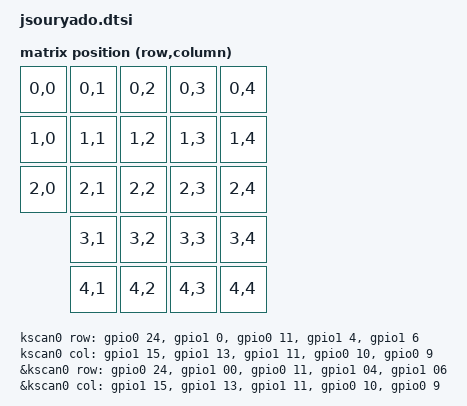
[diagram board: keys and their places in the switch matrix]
#include <dt-bindings/zmk/matrix_transform.h>

/ {
    chosen {
        zmk,kscan = &kscan0;
        zmk,physical-layout = &physical_layout0;
    };

    mock_kscan: mock_kscan_0 {
        compatible = "zmk,kscan-mock";
        columns = <0>;
        rows = <0>;
        events = <0>;
    };

    kscan0: kscan0 {
        compatible = "zmk,kscan-gpio-matrix";
        diode-direction = "col2row";
        wakeup-source;

        row-gpios = <&gpio0 24 (GPIO_ACTIVE_HIGH | GPIO_PULL_DOWN)>,
                    <&gpio1 0  (GPIO_ACTIVE_HIGH | GPIO_PULL_DOWN)>,
                    <&gpio0 11 (GPIO_ACTIVE_HIGH | GPIO_PULL_DOWN)>,
                    <&gpio1 4  (GPIO_ACTIVE_HIGH | GPIO_PULL_DOWN)>,
                    <&gpio1 6  (GPIO_ACTIVE_HIGH | GPIO_PULL_DOWN)>;

        col-gpios = <&gpio1 15 GPIO_ACTIVE_HIGH>,
                    <&gpio1 13 GPIO_ACTIVE_HIGH>,
                    <&gpio1 11 GPIO_ACTIVE_HIGH>,
                    <&gpio0 10 GPIO_ACTIVE_HIGH>,
                    <&gpio0 9  GPIO_ACTIVE_HIGH>;
    };

/*
 * Copyright (c) 2020 Pete Johanson
 *
 * SPDX-License-Identifier: MIT
 */

#include "jsouryado.dtsi"

&kscan0 {
    diode-direction = "col2row";
    row-gpios = <&gpio0 24 (GPIO_ACTIVE_HIGH | GPIO_PULL_DOWN)>,
                <&gpio1 00 (GPIO_ACTIVE_HIGH | GPIO_PULL_DOWN)>,
                <&gpio0 11 (GPIO_ACTIVE_HIGH | GPIO_PULL_DOWN)>,
                <&gpio1 04 (GPIO_ACTIVE_HIGH | GPIO_PULL_DOWN)>,
                <&gpio1 06 (GPIO_ACTIVE_HIGH | GPIO_PULL_DOWN)>;

    col-gpios = <&gpio1 15 GPIO_ACTIVE_HIGH>,
                <&gpio1 13 GPIO_ACTIVE_HIGH>,
                <&gpio1 11 GPIO_ACTIVE_HIGH>,
                <&gpio0 10 GPIO_ACTIVE_HIGH>,
                <&gpio0 9 GPIO_ACTIVE_HIGH>;

    default_transform: matrix_transform {
        compatible = "zmk,matrix-transform";
        columns = <5>;
        rows = <5>;
        map = <
            RC(0,0) RC(0,1) RC(0,2) RC(0,3) RC(0,4)
			RC(1,0) RC(1,1) RC(1,2) RC(1,3) RC(1,4)
            RC(2,0) RC(2,1) RC(2,2) RC(2,3) RC(2,4)
                    RC(3,1) RC(3,2) RC(3,3) RC(3,4)
                    RC(4,1) RC(4,2) RC(4,3) RC(4,4)
        >;
    };


    physical_layout0: physical_layout_0 {
        compatible = "zmk,physical-layout";
        display-name = "Default Layout";
        transform = <&default_transform>;
    };
};
